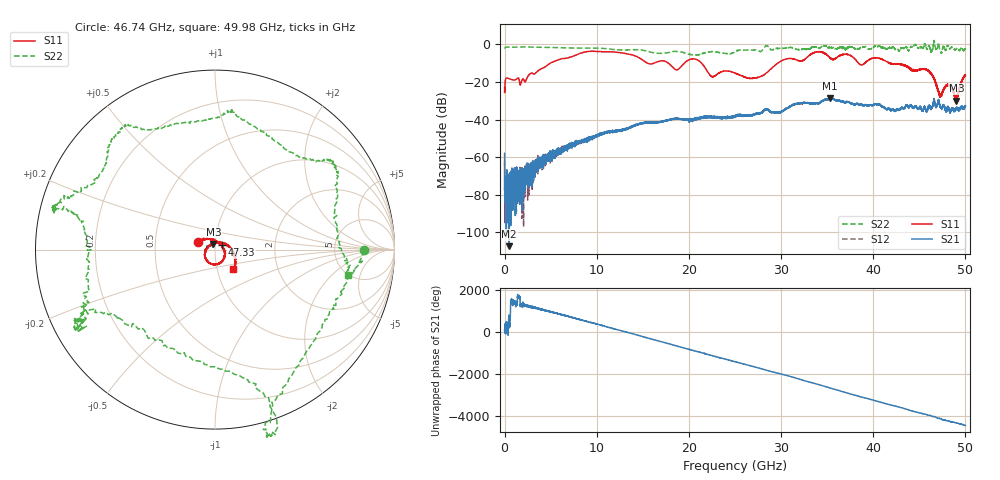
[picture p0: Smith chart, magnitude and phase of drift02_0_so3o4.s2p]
!Created with skrf (http://scikit-rf.org).
# Hz S RI R 50.0
!freq ReS11 ImS11 ReS21 ImS21 ReS12 ImS12 ReS22 ImS22
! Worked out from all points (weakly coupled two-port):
!   10001 points, 300 kHz to 50 GHz, reference 50 ohm
!   highest |S21| = -28.62 dB at 35.32 GHz (marker M1); lowest = -107.5 dB at 505.3 MHz (marker M2)
!   lowest |S11| = -29.9 dB at 49.02 GHz (marker M3), VSWR 1.07, Z = 49 + j3.02 ohm
!   |S11| at or under -10 dB: start of sweep to 4.957 GHz; 21.38 GHz to 29.64 GHz (8.263 GHz wide, 32.4 % of centre); 41.84 GHz to end of sweep (the widest 3 of 8)
!   |S22| runs from -5.7 to 2.1 dB; largest |S21 - S12| = 0.0035
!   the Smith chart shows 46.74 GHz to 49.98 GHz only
!   S11 on the Smith chart (normalised r, x): 46.74 GHz: 0.82, +0.07; 47.33 GHz: 1.08, +0.05; 49.98 GHz: 1.20, -0.27
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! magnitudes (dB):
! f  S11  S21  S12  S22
! 300 kHz  -23.0  -58.0  -62.1  -2.1
! 255.3 MHz  -17.9  -72.4  -69.9  -1.4
! 505.3 MHz  -18.3  -107.5  -75.8  -1.5
! 1.875 GHz  -19.1  -73.0  -68.4  -1.3
! 3.87 GHz  -13.2  -62.0  -61.9  -1.5
! 8.335 GHz  -4.5  -51.5  -51.6  -1.9
! 16.67 GHz  -9.1  -41.4  -41.2  -4.8
! 18.69 GHz  -13.5  -39.3  -39.6  -3.8
! 20.58 GHz  -7.7  -40.1  -39.5  -5.6
! 22.49 GHz  -17.1  -38.7  -38.5  -3.8
! 25 GHz  -15.3  -38.4  -38.4  -3.9
! 27.46 GHz  -17.6  -36.7  -36.9  -3.1
! 33.34 GHz  -5.0  -31.4  -31.3  -1.5
! 35.32 GHz  -7.2  -28.6  -28.9  -1.5
! 41.67 GHz  -9.7  -34.5  -34.4  -1.8
! 45.77 GHz  -13.4  -35.9  -35.8  -1.7
! 46.74 GHz  -19.6  -32.5  -32.5  -1.6
! 47.33 GHz  -26.7  -33.4  -33.7  -4.0
! 48.15 GHz  -21.4  -33.3  -33.4  -0.9
! 49.02 GHz  -29.9  -34.0  -33.8  -2.4
! 49.98 GHz  -16.4  -32.6  -33.2  -2.4
! 50 GHz  -16.5  -32.7  -32.7  -2.6
